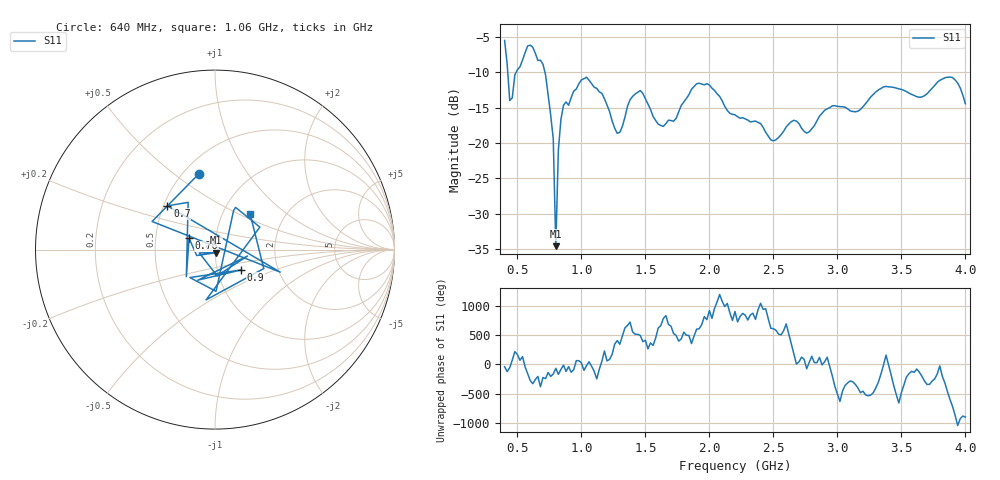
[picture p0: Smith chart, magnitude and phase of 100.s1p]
!Created with skrf (http://scikit-rf.org).
# Hz S RI R 50.0
!freq ReS11 ImS11
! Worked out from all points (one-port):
!   181 points, 400 MHz to 4 GHz, reference 50 ohm
!   lowest |S11| = -34.6 dB at 800 MHz (marker M1), VSWR 1.04, Z = 50.7 - j1.73 ohm
!   |S11| at or under -10 dB: 424.4 MHz to 490.5 MHz (66.1 MHz wide, 14.4 % of centre); 715 MHz to end of sweep
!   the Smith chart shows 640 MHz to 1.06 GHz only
!   S11 on the Smith chart (normalised r, x): 640 MHz: 0.60, +0.61; 700 MHz: 0.52, +0.29; 760 MHz: 0.74, +0.10; 900 MHz: 1.30, -0.31; 1.06 GHz: 1.35, +0.57
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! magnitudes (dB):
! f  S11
! 400 MHz  -5.5
! 440 MHz  -14.0
! 580 MHz  -6.3
! 640 MHz  -7.3
! 700 MHz  -8.9
! 760 MHz  -16.1
! 780 MHz  -19.4
! 800 MHz  -34.6
! 820 MHz  -21.0
! 860 MHz  -14.7
! 900 MHz  -14.7
! 1.06 GHz  -11.1
! 1.3 GHz  -18.5
! 1.38 GHz  -13.9
! 1.46 GHz  -12.6
! 1.6 GHz  -17.3
! 1.76 GHz  -15.6
! 1.92 GHz  -11.6
! 2.2 GHz  -16.0
! 2.5 GHz  -19.7
! 2.66 GHz  -16.8
! 2.76 GHz  -18.6
! 2.96 GHz  -14.8
! 3.1 GHz  -15.5
! 3.36 GHz  -12.1
! 3.56 GHz  -13.0
! 3.88 GHz  -10.7
! 4 GHz  -14.5
